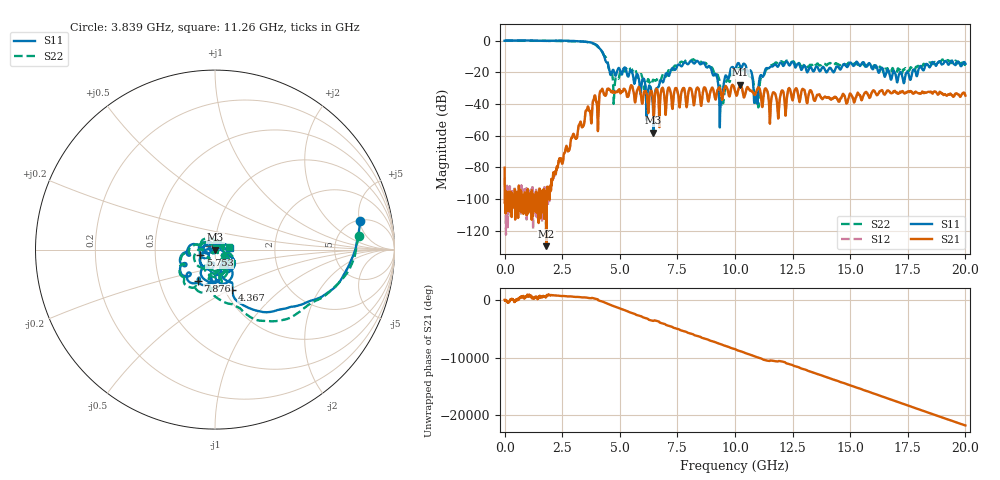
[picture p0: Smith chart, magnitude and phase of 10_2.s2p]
#  HZ  S  RI  R  50.00
! Rohde & Schwarz Vector Network Analyzer
! Rohde-Schwarz,ZNB20-2Port,1311601062102128,3.60
! Created: UTC 4/29/2024, 2:55:37 PM
! freq[Hz]  re:S11  im:S11  re:S21  im:S21  re:S12  im:S12  re:S22  im:S22
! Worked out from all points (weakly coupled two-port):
!   2007 points, 100 kHz to 20 GHz, reference 50 ohm
!   highest |S21| = -27.73 dB at 10.23 GHz (marker M1); lowest = -129.6 dB at 1.815 GHz (marker M2)
!   lowest |S11| = -58.1 dB at 6.461 GHz (marker M3), VSWR 1.00, Z = 50.1 + j0.0268 ohm
!   |S11| at or under -10 dB: 4.326 GHz to end of sweep
!   |S22| runs from -42.1 to 0.1 dB; largest |S21 - S12| = 0.0026
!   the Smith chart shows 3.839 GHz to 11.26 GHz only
!   S11 on the Smith chart (normalised r, x): 3.839 GHz: 5.16, +5.19; 4.367 GHz: 1.08, -0.52; 5.753 GHz: 0.85, -0.05; 7.876 GHz: 0.78, -0.28; 11.26 GHz: 1.19, +0.02
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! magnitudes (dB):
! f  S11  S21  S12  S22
! 100 kHz  0.0  -80.1  -86.4  0.1
! 1.815 GHz  -0.1  -129.6  -97.0  -0.2
! 2.243 GHz  0.0  -80.8  -81.3  -0.3
! 3.34 GHz  -0.6  -53.8  -53.6  -0.6
! 3.839 GHz  -1.7  -38.2  -37.6  -1.9
! 4.367 GHz  -12.2  -34.8  -34.6  -10.1
! 4.776 GHz  -20.8  -32.5  -32.4  -28.4
! 5.753 GHz  -21.1  -31.3  -31.3  -22.7
! 6.461 GHz  -58.1  -45.9  -45.8  -24.7
! 6.67 GHz  -29.2  -35.1  -35.1  -23.6
! 7.876 GHz  -14.0  -39.2  -39.1  -12.3
! 8.903 GHz  -16.2  -33.9  -33.9  -16.9
! 9.392 GHz  -39.0  -33.3  -33.4  -35.5
! 9.591 GHz  -21.9  -28.6  -28.6  -27.7
! 10 GHz  -18.7  -31.7  -31.6  -19.7
! 10.23 GHz  -16.2  -27.7  -27.7  -16.9
! 10.68 GHz  -19.0  -31.5  -31.8  -22.1
! 10.94 GHz  -34.2  -31.8  -32.0  -32.3
! 11.26 GHz  -21.2  -33.2  -33.3  -22.0
! 13.34 GHz  -18.0  -32.8  -32.9  -15.3
! 16.67 GHz  -19.1  -31.7  -31.8  -20.6
! 20 GHz  -14.6  -34.8  -34.6  -14.4
